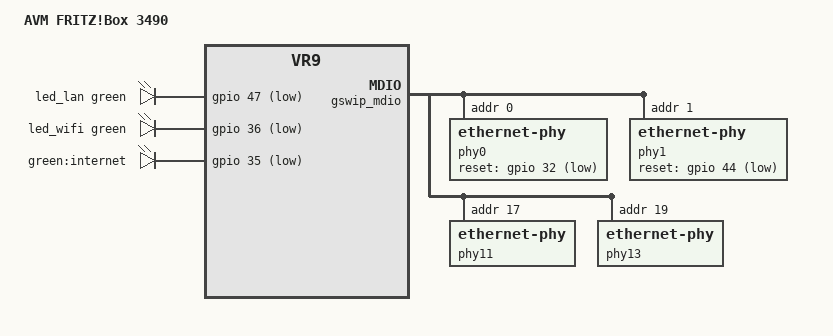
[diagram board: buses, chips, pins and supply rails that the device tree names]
// SPDX-License-Identifier: GPL-2.0-or-later OR MIT

#include <dt-bindings/leds/common.h>

#include "vr9_avm_fritzxx90.dtsi"

/ {
	compatible = "avm,fritz3490", "lantiq,xway", "lantiq,vr9";
	model = "AVM FRITZ!Box 3490";
};

&aliases {
	led-dsl = &led_info_green;
	led-internet = &led_internet;
	led-wifi = &led_wifi;
};

&leds {
	led_lan: lan {
		function = LED_FUNCTION_LAN;
		color = <LED_COLOR_ID_GREEN>;
		gpios = <&gpio 47 GPIO_ACTIVE_LOW>;
	};

	led_wifi: wifi {
		function = LED_FUNCTION_WLAN;
		color = <LED_COLOR_ID_GREEN>;
		gpios = <&gpio 36 GPIO_ACTIVE_LOW>;
	};

	led_internet: internet {
		label = "green:internet";
		gpios = <&gpio 35 GPIO_ACTIVE_LOW>;
	};
};

&gswip_mdio {
	phy0: ethernet-phy@0 {
		reg = <0x00>;
		reset-gpios = <&gpio 32 GPIO_ACTIVE_LOW>;
	};

	phy1: ethernet-phy@1 {
		reg = <0x01>;
		reset-gpios = <&gpio 44 GPIO_ACTIVE_LOW>;
	};

	phy11: ethernet-phy@11 {
		reg = <0x11>;
	};

	phy13: ethernet-phy@13 {
		reg = <0x13>;
	};
};

&gswip_ports {
	port@0 {
		reg = <0>;
		label = "lan3";
		phy-mode = "rgmii-rxid";
		phy-handle = <&phy0>;
	};

	port@1 {
		reg = <1>;
		label = "lan4";
		phy-mode = "rgmii-rxid";
		phy-handle = <&phy1>;
	};

	port@2 {
		reg = <2>;
		label = "lan2";
		phy-mode = "internal";
		phy-handle = <&phy11>;
	};

	port@4 {
		reg = <4>;
		label = "lan1";
		phy-mode = "internal";
		phy-handle = <&phy13>;
	};
};
